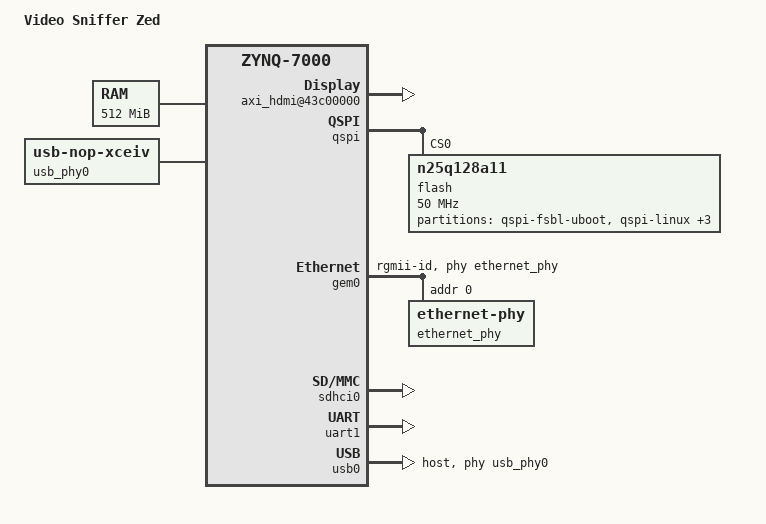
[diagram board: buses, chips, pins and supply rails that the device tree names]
/*
 *  Copyright (C) 2011 - 2014 Xilinx
 *  Copyright (C) 2012 National Instruments Corp.
 *
 * This software is licensed under the terms of the GNU General Public
 * License version 2, as published by the Free Software Foundation, and
 * may be copied, distributed, and modified under those terms.
 *
 * This program is distributed in the hope that it will be useful,
 * but WITHOUT ANY WARRANTY; without even the implied warranty of
 * MERCHANTABILITY or FITNESS FOR A PARTICULAR PURPOSE.  See the
 * GNU General Public License for more details.
 */
/dts-v1/;
/include/ "zynq-7000.dtsi"

/ {
	model = "Video Sniffer Zed";
	compatible = "xlnx,zynq-zed", "xlnx,zynq-7000";

	aliases {
		ethernet0 = &gem0;
		serial0 = &uart1;
		spi0 = &qspi;
	};

	memory {
		device_type = "memory";
		reg = <0x0 0x20000000>;
	};

	chosen {
		bootargs = "console=ttyPS0,115200 root=/dev/ram rw earlyprintk";
		linux,stdout-path = &uart1;
		stdout-path = &uart1;
	};

	usb_phy0: phy0 {
		compatible = "usb-nop-xceiv";
		#phy-cells = <0>;
	};

	amba {
		fpga-axi@0 {
			compatible = "simple-bus";
			#address-cells = <0x1>;
			#size-cells = <0x1>;
			ranges;

			vsniffdatavdma:axivdma@43000000 {
				compatible = "xlnx,axi-vdma-1.00.a";
				#address-cells = <0x1>;
				#size-cells = <0x1>;
				#dma-cells = <0x1>;
				#dma-channels = <0x1>;
				reg = <0x43000000 0x1000>;
				xlnx,num-fstores = <0x1>;
				xlnx,flush-fsync = <0x1>;

				dma-channel1@43000000 {
					compatible = "xlnx,axi-vdma-s2mm-channel";
					interrupts = <0x0 0x1d 0x4>;
					xlnx,datawidth = <0x20>;
					xlnx,genlock-mode = <0x0>;
					xlnx,include-dre = <0x0>;
				};
			};

			vsniffdata@0x7a200000 {
				compatible = "vsniff,video-sniffer-data";
				reg = <0x43c00000 0x10000>;
				dmas = <&vsniffdatavdma 0x1>;
				dma-names = "captured-video";
			};
		};

    output_vdma:axivdma@40030000 {
      compatible = "xlnx,axi-vdma-1.00.a";
      #address-cells = <0x1>;
      #size-cells = <0x1>;
      #dma-cells = <0x1>;
      #dma-channels = <0x1>;
      reg = <0x43010000 0x1000>;
      xlnx,num-fstores = <0x3>;
      xlnx,flush-fsync = <0x1>;

      dma-channel0@80000000 {
        compatible = "xlnx,axi-vdma-mm2s-channel";
        interrupts = <0x0 0x1f 0x4>;
        xlnx,datawidth = <0x20>;
        xlnx,genlock-mode = <0x3>;
        xlnx,include-dre = <0x0>;
      };

      dma-channel1@80000000 {
        compatible = "xlnx,axi-vdma-s2mm-channel";
        interrupts = <0x0 0x20 0x4>;
        xlnx,datawidth = <0x20>;
        xlnx,genlock-mode = <0x2>;
        xlnx,include-dre = <0x0>;
      };
    };

		axi_hdmi@43c00000 {
			compatible = "ant,axi-dispctrl-hdmi-tx";
			reg = <0x43c10000 0x10000>;
			dmas = <&output_vdma 0x0>;
			dma-names = "video";
		};
	};
};

&qspi {
	status = "okay";
	is-dual = <0>;
	num-cs = <1>;
	flash@0 {
		compatible = "n25q128a11";
		reg = <0x0>;
		spi-tx-bus-width = <1>;
		spi-rx-bus-width = <4>;
		spi-max-frequency = <50000000>;
		#address-cells = <1>;
		#size-cells = <1>;
		partition@qspi-fsbl-uboot {
			label = "qspi-fsbl-uboot";
			reg = <0x0 0x100000>;
		};
		partition@qspi-linux {
			label = "qspi-linux";
			reg = <0x100000 0x500000>;
		};
		partition@qspi-device-tree {
			label = "qspi-device-tree";
			reg = <0x600000 0x20000>;
		};
		partition@qspi-rootfs {
			label = "qspi-rootfs";
			reg = <0x620000 0x5E0000>;
		};
		partition@qspi-bitstream {
			label = "qspi-bitstream";
			reg = <0xC00000 0x400000>;
		};
	};
};

&clkc {
	ps-clk-frequency = <33333333>;
};

&gem0 {
	status = "okay";
	phy-mode = "rgmii-id";
	phy-handle = <&ethernet_phy>;

	ethernet_phy: ethernet-phy@0 {
		reg = <0>;
	};
};

&sdhci0 {
	status = "okay";
};

&uart1 {
	status = "okay";
};

&usb0 {
	status = "okay";
	dr_mode = "host";
	usb-phy = <&usb_phy0>;
};
